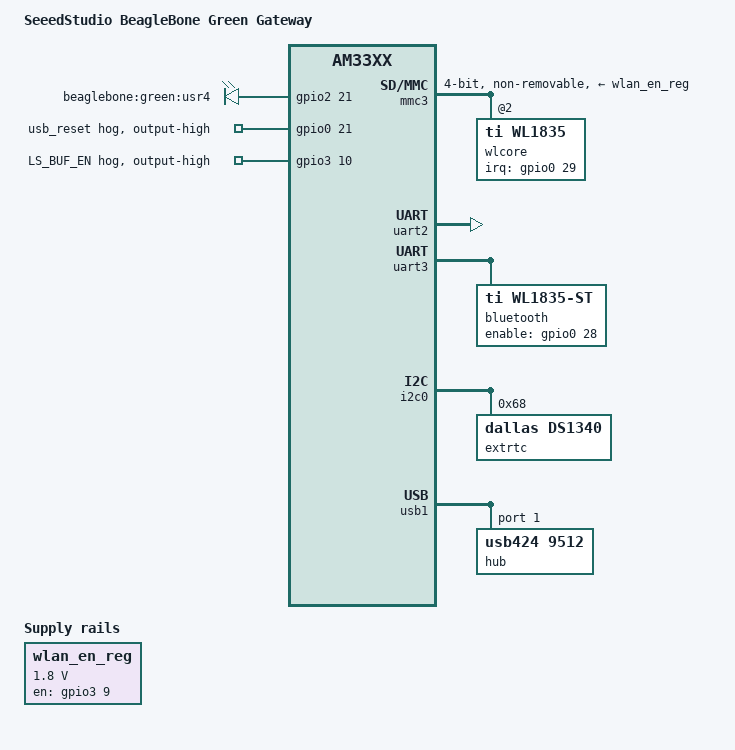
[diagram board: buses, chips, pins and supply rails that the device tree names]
// SPDX-License-Identifier: GPL-2.0-only
/*
 * Copyright (C) 2012 Texas Instruments Incorporated - https://www.ti.com/
 */
/dts-v1/;

#include "am33xx.dtsi"
#include "am335x-bone-common.dtsi"
#include "am335x-bonegreen-common.dtsi"
#include <dt-bindings/interrupt-controller/irq.h>

/ {
	model = "SeeedStudio BeagleBone Green Gateway";
	compatible = "ti,am335x-bone-green-gateway", "ti,am335x-bone-green", "ti,am335x-bone-black", "ti,am335x-bone", "ti,am33xx";

	aliases {
		rtc0 = &extrtc;
		rtc1 = &rtc;
	};

	chosen {
		base_dtb = "am335x-bonegreen-gateway.dts";
		base_dtb_timestamp = __TIMESTAMP__;
	};

	wlan_en_reg: fixedregulator@2 {
		compatible = "regulator-fixed";
		regulator-name = "wlan-en-regulator";
		regulator-min-microvolt = <1800000>;
		regulator-max-microvolt = <1800000>;
		startup-delay-us= <70000>;

		/* WL_EN */
		gpio = <&gpio3 9 0>;
		enable-active-high;
	};

	leds {
		pinctrl-0 = <&user_leds_s0 &extra_led_pins>;

		led6 {
			label = "beaglebone:green:usr4";
			gpios = <&gpio2 21 GPIO_ACTIVE_HIGH>;
			linux,default-trigger = "netdev";
			default-state = "off";
		};
	};
};

&cpu0_opp_table {
	/*
	 * Octavo Systems:
	 * The EFUSE_SMA register is not programmed for any of the AM335x wafers
	 * we get and we are not programming them during our production test.
	 * Therefore, from a DEVICE_ID revision point of view, the silicon looks
	 * like it is Revision 2.1.  However, from an EFUSE_SMA point of view for
	 * the HW OPP table, the silicon looks like it is Revision 1.0 (ie the
	 * EFUSE_SMA register reads as all zeros).
	 */
	oppnitro-1000000000 {
		opp-supported-hw = <0x06 0x0100>;
	};
};

&am33xx_pinmux {
	pinctrl-names = "default";
	pinctrl-0 = <&usbhost_pins>;

	bt_pins: pinmux_bt_pins {
		pinctrl-single,pins = <
			AM33XX_PADCONF(AM335X_PIN_MII1_TXD0, PIN_OUTPUT_PULLUP, MUX_MODE7)	/* gmii1_txd0.gpio0_28 - BT_EN */
		>;
	};

	mmc3_pins: pinmux_mmc3_pins {
		pinctrl-single,pins = <
			AM33XX_PADCONF(AM335X_PIN_MII1_RXD1, PIN_INPUT_PULLUP, MUX_MODE6 ) /* (L15) gmii1_rxd1.mmc2_clk */
			AM33XX_PADCONF(AM335X_PIN_MII1_TX_EN, PIN_INPUT_PULLUP, MUX_MODE6 ) /* (J16) gmii1_txen.mmc2_cmd */
			AM33XX_PADCONF(AM335X_PIN_MII1_RX_DV, PIN_INPUT_PULLUP, MUX_MODE5 ) /* (J17) gmii1_rxdv.mmc2_dat0 */
			AM33XX_PADCONF(AM335X_PIN_MII1_TXD3, PIN_INPUT_PULLUP, MUX_MODE5 ) /* (J18) gmii1_txd3.mmc2_dat1 */
			AM33XX_PADCONF(AM335X_PIN_MII1_TXD2, PIN_INPUT_PULLUP, MUX_MODE5 ) /* (K15) gmii1_txd2.mmc2_dat2 */
			AM33XX_PADCONF(AM335X_PIN_MII1_COL, PIN_INPUT_PULLUP, MUX_MODE5 ) /* (H16) gmii1_col.mmc2_dat3 */
		>;
	};

	uart2_grove_pins: pinmux_uart2_grove_pins {
		pinctrl-single,pins = <
			AM33XX_IOPAD(0x90c, PIN_OUTPUT_PULLUP | INPUT_EN | MUX_MODE6)
			AM33XX_IOPAD(0x910, PIN_OUTPUT_PULLUP | INPUT_EN | MUX_MODE6)
		>;
	};

	uart3_pins: pinmux_uart3_pins {
		pinctrl-single,pins = <
			AM33XX_PADCONF(AM335X_PIN_MII1_RXD3, PIN_INPUT_PULLUP, MUX_MODE1)	/* gmii1_rxd3.uart3_rxd */
			AM33XX_PADCONF(AM335X_PIN_MII1_RXD2, PIN_OUTPUT_PULLDOWN, MUX_MODE1)	/* gmii1_rxd2.uart3_txd */
			AM33XX_PADCONF(AM335X_PIN_MDIO, PIN_INPUT, MUX_MODE3)		/* mdio_data.uart3_ctsn */
			AM33XX_PADCONF(AM335X_PIN_MDC, PIN_OUTPUT_PULLDOWN, MUX_MODE3)	/* mdio_clk.uart3_rtsn */
		>;
	};

	extra_led_pins: pinmux_extra_led_pins {
		pinctrl-single,pins = <
			AM33XX_PADCONF(AM335X_PIN_MII1_RXD0, PIN_OUTPUT, MUX_MODE7)	/* WL_Active_LED / USR4 */
		>;
	};

	wl18xx_pins: pinmux_wl18xx_pins {
		pinctrl-single,pins = <
			AM33XX_PADCONF(AM335X_PIN_MII1_TX_CLK, PIN_OUTPUT_PULLDOWN, MUX_MODE7)	/* gmii1_txclk.gpio3_9 WL_EN */
			AM33XX_PADCONF(AM335X_PIN_RMII1_REF_CLK, PIN_INPUT_PULLDOWN, MUX_MODE7)	/* rmii1_refclk.gpio0_29 WL_IRQ */
			AM33XX_PADCONF(AM335X_PIN_MII1_RX_CLK, PIN_OUTPUT_PULLUP, MUX_MODE7)	/* gmii1_rxclk.gpio3_10 LS_BUF_EN */
		>;
	};

	usbhost_pins: pinmux_usbhost_pins {
		pinctrl-single,pins = <
			AM33XX_IOPAD(0x924, PIN_OUTPUT_PULLUP | MUX_MODE7) /* gmii1_txd1.gpio0[21] */
		>;
	};
};

&mac {
	status = "disabled";
};

&mmc3 {
	dmas = <&edma_xbar 12 0 1
		&edma_xbar 13 0 2>;
	dma-names = "tx", "rx";
	status = "okay";
	vmmc-supply = <&wlan_en_reg>;
	bus-width = <4>;
	non-removable;
	cap-power-off-card;
	keep-power-in-suspend;
	pinctrl-names = "default";
	pinctrl-0 = <&mmc3_pins &wl18xx_pins>;

	#address-cells = <1>;
	#size-cells = <0>;
	wlcore: wlcore@2 {
		compatible = "ti,wl1835";
		reg = <2>;
		interrupt-parent = <&gpio0>;
		interrupts = <29 IRQ_TYPE_EDGE_RISING>;
	};
};

&uart2 {
	pinctrl-names = "default";
	pinctrl-0 = <&uart2_grove_pins>;
	status = "okay";
};

&uart3 {
	pinctrl-names = "default";
	pinctrl-0 = <&uart3_pins &bt_pins>;
	status = "okay";

	bluetooth {
		compatible = "ti,wl1835-st";
		enable-gpios = <&gpio0 28 GPIO_ACTIVE_HIGH>;
	};
};

&i2c0 {
	extrtc: rtc@68 {
		compatible = "dallas,ds1340";
		reg = <0x68>;
	};
};

// (K16) gmii1_txd1.gpio0[21]
&gpio0 {
	usb_reset {
		gpio-hog;
		gpios = <21 GPIO_ACTIVE_HIGH>;
		output-high;
		line-name = "usb_reset";
	};
};

&gpio3 {
	ls_buf_en {
		gpio-hog;
		gpios = <10 GPIO_ACTIVE_HIGH>;
		output-high;
		line-name = "LS_BUF_EN";
	};
};

&usb1 {
	#address-cells = <1>;
	#size-cells = <0>;

	hub@1 {
		compatible = "usb424,9512";
		reg = <1>;
		#address-cells = <1>;
		#size-cells = <0>;

		ethernet: ethernet@1 {
			compatible = "usb424,ec00";
			reg = <1>;
		};
	};
};
